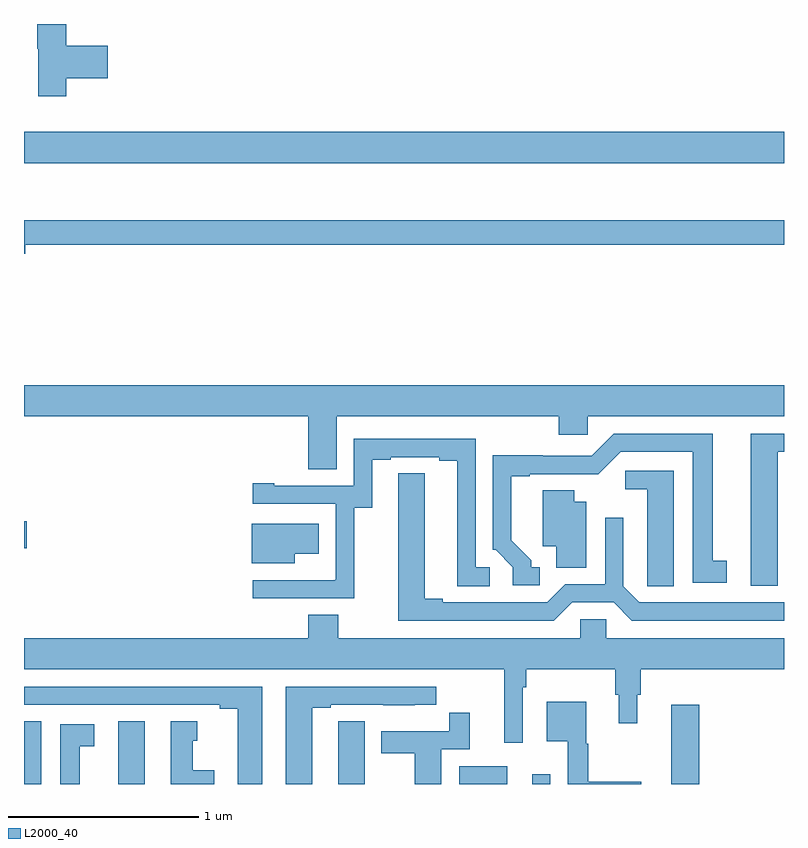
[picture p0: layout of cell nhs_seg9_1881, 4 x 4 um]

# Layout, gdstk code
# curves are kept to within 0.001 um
import gdstk
lib = gdstk.Library(unit=1e-6, precision=1e-09)
def R(c, l, rs):  # rectangles x0, y0, x1, y1
    for r in rs: c.add(gdstk.rectangle(r[:2], r[2:], *l))
def P(c, l, *ps):  # polygons
    for p in ps: c.add(gdstk.Polygon(p, *l))
L2000_40 = (2000, 40)

nhs_seg9_1881 = lib.new_cell('nhs_seg9_1881')
R(nhs_seg9_1881, L2000_40, [(217,1178.5,217.09,1178.831), (217.496,1178.5,217.636,1178.83), (219.29,1178.5,219.544,1178.593), (219.674,1178.5,219.771,1178.551), (220.406,1178.5,220.553,1178.917), (217,1179.742,217.015,1179.884), (217,1181.768,221,1181.932)])
P(nhs_seg9_1881, L2000_40, [(217.223,1182.215),(217.441,1182.215),(217.441,1182.386),(217.223,1182.386),(217.223,1182.5),(217.069,1182.5),(217.069,1182.369),(217.076,1182.369),(217.076,1182.12),(217.223,1182.12)],
  [(217.006,1181.338),(221,1181.338),(221,1181.467),(217,1181.467),(217,1181.291),(217.006,1181.291)],
  [(218.647,1180.436),(219.815,1180.436),(219.815,1180.338),(219.966,1180.338),(219.966,1180.436),(221,1180.436),(221,1180.6),(217,1180.6),(217,1180.436),(218.495,1180.436),(218.495,1180.156),(218.647,1180.156)],
  [(219.715,1179.642),(219.67,1179.642),(219.67,1179.677),(219.565,1179.782),(219.565,1180.119),(219.661,1180.119),(219.661,1180.131),(220.022,1180.13),(220.14,1180.248),(220.52,1180.248),(220.52,1179.558),(220.699,1179.558),(220.699,1179.674),(220.624,1179.674),(220.624,1180.344),(220.104,1180.344),(219.987,1180.227),(219.731,1180.227),(219.731,1180.229),(219.468,1180.229),(219.468,1179.732),(219.483,1179.732),(219.573,1179.642),(219.573,1179.546),(219.715,1179.546)],
  [(220.966,1180.248),(221,1180.248),(221,1180.344),(220.826,1180.344),(220.826,1179.543),(220.966,1179.543)],
  [(218.739,1179.955),(218.833,1179.955),(218.833,1180.206),(218.929,1180.206),(218.929,1180.221),(219.185,1180.221),(219.185,1180.201),(219.281,1180.201),(219.281,1179.541),(219.451,1179.541),(219.451,1179.642),(219.378,1179.642),(219.378,1180.317),(218.736,1180.317),(218.736,1180.071),(218.317,1180.071),(218.317,1180.084),(218.205,1180.084),(218.205,1179.975),(218.64,1179.975),(218.64,1179.574),(218.639,1179.574),(218.639,1179.573),(218.205,1179.573),(218.205,1179.477),(218.739,1179.477)],
  [(220.42,1180.149),(220.164,1180.149),(220.164,1180.052),(220.28,1180.052),(220.28,1179.649),(220.281,1179.649),(220.281,1179.541),(220.42,1179.541)],
  [(219.885,1179.456),(220.103,1179.456),(220.199,1179.36),(221,1179.36),(221,1179.456),(220.239,1179.456),(220.155,1179.54),(220.155,1179.901),(220.059,1179.901),(220.059,1179.552),(219.849,1179.552),(219.753,1179.456),(219.205,1179.456),(219.205,1179.476),(219.109,1179.476),(219.109,1180.136),(218.97,1180.136),(218.969,1179.36),(219.789,1179.36)],
  [(219.958,1179.985),(219.895,1179.985),(219.895,1180.046),(219.731,1180.046),(219.731,1179.752),(219.8,1179.752),(219.8,1179.637),(219.958,1179.637)],
  [(218.425,1179.713),(218.551,1179.713),(218.551,1179.871),(218.198,1179.871),(218.198,1179.662),(218.425,1179.662)],
  [(219.624,1179.008),(219.644,1179.008),(219.644,1179.104),(220.111,1179.104),(220.111,1178.97),(220.13,1178.97),(220.13,1178.82),(220.228,1178.82),(220.228,1178.97),(220.247,1178.97),(220.247,1179.104),(221,1179.104),(221,1179.268),(220.065,1179.268),(220.065,1179.366),(219.927,1179.366),(219.927,1179.268),(218.655,1179.268),(218.655,1179.392),(218.495,1179.392),(218.495,1179.268),(217,1179.268),(217,1179.104),(219.527,1179.104),(219.527,1178.718),(219.624,1178.718)],
  [(218.254,1179.012),(217,1179.012),(217,1178.916),(218.03,1178.916),(218.03,1178.896),(218.126,1178.896),(218.126,1178.5),(218.254,1178.5)],
  [(218.518,1178.901),(218.614,1178.901),(218.614,1178.916),(218.89,1178.916),(218.89,1178.915),(219.056,1178.915),(219.056,1178.916),(219.169,1178.916),(219.169,1179.012),(218.378,1179.012),(218.378,1178.5),(218.518,1178.5)],
  [(220.249,1178.513),(219.97,1178.513),(219.97,1178.712),(219.958,1178.712),(219.958,1178.932),(219.752,1178.932),(219.752,1178.726),(219.861,1178.726),(219.861,1178.5),(220.249,1178.5)],
  [(219.196,1178.682),(219.347,1178.682),(219.347,1178.875),(219.238,1178.875),(219.238,1178.778),(218.879,1178.778),(218.879,1178.662),(219.056,1178.662),(219.056,1178.5),(219.196,1178.5)],
  [(218.794,1178.831),(218.655,1178.831),(218.655,1178.723),(218.654,1178.723),(218.654,1178.5),(218.794,1178.5)],
  [(218.002,1178.572),(217.888,1178.572),(217.888,1178.727),(217.912,1178.727),(217.912,1178.83),(217.772,1178.83),(217.772,1178.5),(218.002,1178.5)],
  [(217.294,1178.698),(217.369,1178.698),(217.369,1178.814),(217.19,1178.814),(217.19,1178.5),(217.294,1178.5)])

lib.write_gds('nhs_seg9_1881.gds')
